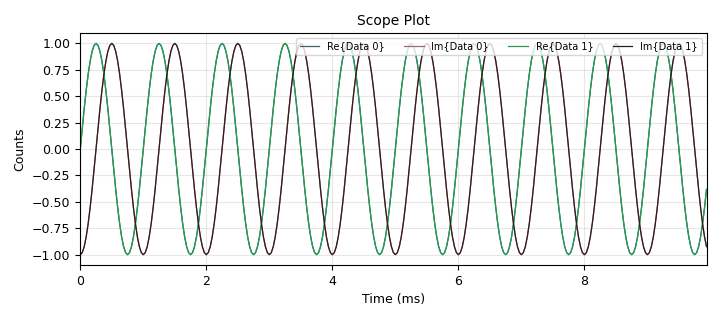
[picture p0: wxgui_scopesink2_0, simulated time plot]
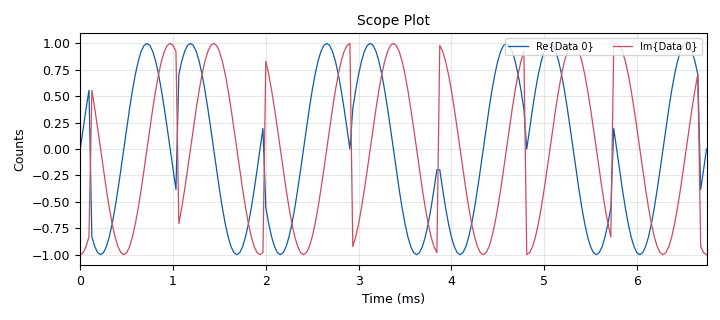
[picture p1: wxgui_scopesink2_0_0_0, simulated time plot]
<?xml version='1.0' encoding='utf-8'?>
<?grc format='1' created='3.7.11'?>
<flow_graph>
<block>
<key>options</key>
<param><key>id</key><value>top_block</value></param>
<param><key>generate_options</key><value>wx_gui</value></param>
</block>
<block>
<key>variable</key>
<param><key>id</key><value>samp_rate</value></param>
<param><key>value</key><value>32000</value></param>
</block>
<block>
<key>analog_sig_source_x</key>
<param><key>id</key><value>analog_sig_source_x_0</value></param>
<param><key>amp</key><value>1</value></param>
<param><key>freq</key><value>1000</value></param>
<param><key>offset</key><value>0</value></param>
<param><key>type</key><value>complex</value></param>
<param><key>samp_rate</key><value>samp_rate</value></param>
<param><key>waveform</key><value>analog.GR_COS_WAVE</value></param>
</block>
<block>
<key>analog_sig_source_x</key>
<param><key>id</key><value>analog_sig_source_x_0_0</value></param>
<param><key>amp</key><value>1</value></param>
<param><key>freq</key><value>1000</value></param>
<param><key>offset</key><value>0</value></param>
<param><key>type</key><value>complex</value></param>
<param><key>samp_rate</key><value>samp_rate</value></param>
<param><key>waveform</key><value>analog.GR_SIN_WAVE</value></param>
</block>
<block>
<key>blocks_deinterleave</key>
<param><key>id</key><value>blocks_deinterleave_0</value></param>
<param><key>blocksize</key><value>15</value></param>
<param><key>type</key><value>complex</value></param>
</block>
<block>
<key>blocks_interleave</key>
<param><key>id</key><value>blocks_interleave_0</value></param>
<param><key>blocksize</key><value>15</value></param>
<param><key>type</key><value>complex</value></param>
</block>
<block>
<key>blocks_throttle</key>
<param><key>id</key><value>blocks_throttle_0</value></param>
<param><key>samples_per_second</key><value>samp_rate</value></param>
<param><key>type</key><value>complex</value></param>
</block>
<block>
<key>wxgui_scopesink2</key>
<param><key>id</key><value>wxgui_scopesink2_0</value></param>
<param><key>ac_couple</key><value>False</value></param>
<param><key>num_inputs</key><value>2</value></param>
<param><key>samp_rate</key><value>samp_rate</value></param>
<param><key>t_scale</key><value>0</value></param>
<param><key>title</key><value>Scope Plot</value></param>
<param><key>trig_mode</key><value>wxgui.TRIG_MODE_AUTO</value></param>
<param><key>type</key><value>complex</value></param>
<param><key>v_offset</key><value>0</value></param>
<param><key>v_scale</key><value>0</value></param>
<param><key>xy_mode</key><value>False</value></param>
<param><key>y_axis_label</key><value>Counts</value></param>
</block>
<block>
<key>wxgui_scopesink2</key>
<param><key>id</key><value>wxgui_scopesink2_0_0_0</value></param>
<param><key>ac_couple</key><value>False</value></param>
<param><key>num_inputs</key><value>1</value></param>
<param><key>samp_rate</key><value>samp_rate</value></param>
<param><key>t_scale</key><value>0</value></param>
<param><key>title</key><value>Scope Plot</value></param>
<param><key>trig_mode</key><value>wxgui.TRIG_MODE_AUTO</value></param>
<param><key>type</key><value>complex</value></param>
<param><key>v_offset</key><value>0</value></param>
<param><key>v_scale</key><value>0</value></param>
<param><key>xy_mode</key><value>False</value></param>
<param><key>y_axis_label</key><value>Counts</value></param>
</block>
<connection><source_block_id>analog_sig_source_x_0</source_block_id><sink_block_id>blocks_interleave_0</sink_block_id><source_key>0</source_key><sink_key>0</sink_key></connection>
<connection><source_block_id>analog_sig_source_x_0_0</source_block_id><sink_block_id>blocks_interleave_0</sink_block_id><source_key>0</source_key><sink_key>1</sink_key></connection>
<connection><source_block_id>blocks_deinterleave_0</source_block_id><sink_block_id>wxgui_scopesink2_0</sink_block_id><source_key>0</source_key><sink_key>0</sink_key></connection>
<connection><source_block_id>blocks_deinterleave_0</source_block_id><sink_block_id>wxgui_scopesink2_0</sink_block_id><source_key>1</source_key><sink_key>1</sink_key></connection>
<connection><source_block_id>blocks_interleave_0</source_block_id><sink_block_id>blocks_throttle_0</sink_block_id><source_key>0</source_key><sink_key>0</sink_key></connection>
<connection><source_block_id>blocks_throttle_0</source_block_id><sink_block_id>blocks_deinterleave_0</sink_block_id><source_key>0</source_key><sink_key>0</sink_key></connection>
<connection><source_block_id>blocks_throttle_0</source_block_id><sink_block_id>wxgui_scopesink2_0_0_0</sink_block_id><source_key>0</source_key><sink_key>0</sink_key></connection>
</flow_graph>
